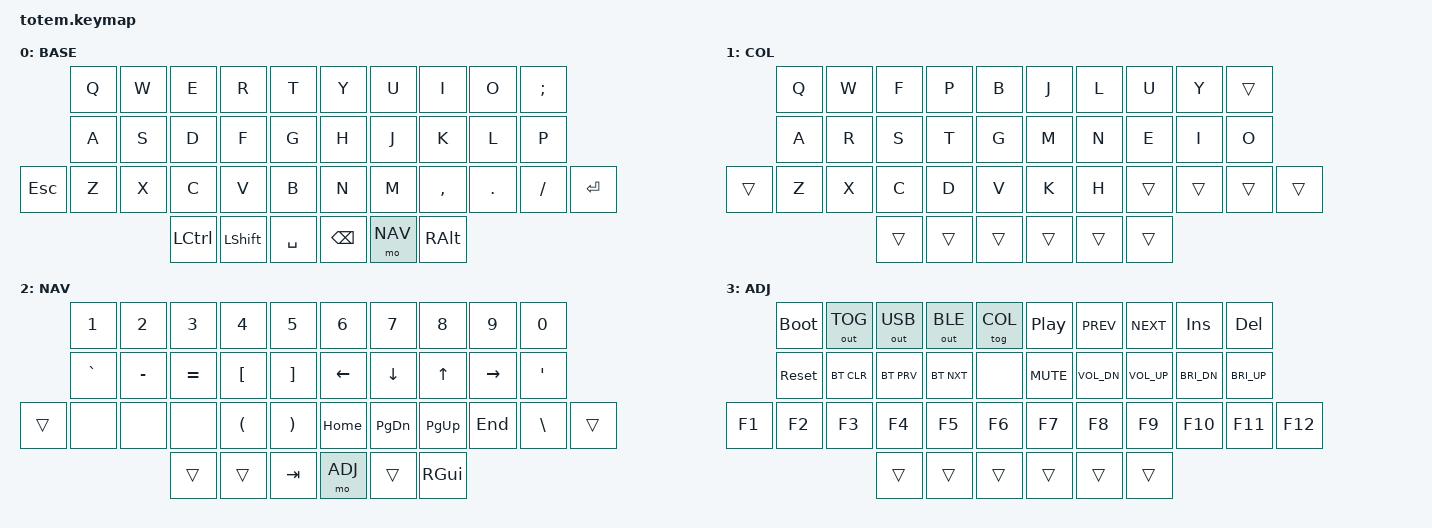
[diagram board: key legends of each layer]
//
//                                                        ▀▀▀▀▀     ▀▀▀▀▀          ▀▀█▀▀
//                                                        ▄▀▀▀▄  ▄  ▄▀▀▀▄  ▄  ▄▀▀▀▄  █  ▄▀▀▀▄
//                                                        █   █  █  █   █  █  █   █  █  █   █
//                                                         ▀▀▀   █   ▀▀▀   █   ▀▀▀   ▀   ▀▀▀
//                                                               █      ▄▄▄█▄▄▄    █   █
//                                                               ▀      █  █  █     █▄█
//                                                             ▀▀▀▀▀    █  █  █      ▀
//                                                                      ▀  ▀  ▀
//
// ▄▄▄▄▄▄▄▄▄▄▄▄▄▄▄▄▄▄▄▄▄▄▄▄▄▄▄▄▄▄▄▄▄▄▄▄▄▄▄▄▄▄▄▄▄▄▄▄▄▄▄▄▄▄▄▄▄▄▄▄▄▄▄▄▄▄▄▄▄▄▄▄▄▄▄▄▄▄▄▄▄▄▄▄▄▄▄▄▄▄▄▄▄▄▄▄▄▄▄▄▄▄▄▄▄▄▄▄▄▄▄▄▄▄▄▄▄▄▄▄▄▄▄▄▄▄▄▄▄▄▄▄▄▄▄▄▄▄▄▄▄▄▄▄▄▄▄▄▄


#include <behaviors.dtsi>
#include <dt-bindings/zmk/keys.h>
#include <dt-bindings/zmk/bt.h>
#include <dt-bindings/zmk/outputs.h>

#define BASE 0
#define COL  1
#define NAV  2
#define ADJ  3

/ {

    keymap {
        compatible = "zmk,keymap";
// ▄▄▄▄▄▄▄▄▄▄▄▄▄▄▄▄▄▄▄▄▄▄▄▄▄▄▄▄▄▄▄▄▄▄▄▄▄▄▄▄▄▄▄▄▄▄▄▄▄▄▄▄▄▄▄▄▄▄▄▄▄▄▄▄▄▄▄▄▄▄▄▄▄▄▄▄▄▄▄▄▄▄▄▄▄▄▄▄▄▄▄▄▄▄▄▄▄▄▄▄▄▄▄▄▄▄▄▄▄▄▄▄▄▄▄▄▄▄▄▄▄▄▄▄▄▄▄▄▄▄▄▄▄▄▄▄▄▄▄▄▄▄▄▄▄▄▄▄▄

        base_layer {
// ┏━━━━━━━━━━━━━━━━━━━━━━━━━━━━━━━━━━━━━━━┓
display-name= "BASE"                              ;
// ┗━━━━━━━━━━━━━━━━━━━━━━━━━━━━━━━━━━━━━━━┛
//             ┏━━━━━━━━━━━┳━━━━━━━━━━━┳━━━━━━━━━━━┳━━━━━━━━━━━┳━━━━━━━━━━━┓   ┏━━━━━━━━━━━┳━━━━━━━━━━━┳━━━━━━━━━━━┳━━━━━━━━━━━┳━━━━━━━━━━━┓
//             ┃     Q     ┃     W     ┃     E     ┃     R     ┃     T     ┃   ┃     Y     ┃     U     ┃     I     ┃     O     ┃    ;/:    ┃
//             ┣━━━━━━━━━━━╋━━━━━━━━━━━╋━━━━━━━━━━━╋━━━━━━━━━━━╋━━━━━━━━━━━┫   ┣━━━━━━━━━━━╋━━━━━━━━━━━╋━━━━━━━━━━━╋━━━━━━━━━━━╋━━━━━━━━━━━┫
//             ┃     A     ┃     S     ┃     D     ┃     F     ┃     G     ┃   ┃     H     ┃     J     ┃     K     ┃     L     ┃     P     ┃
// ┏━━━━━━━━━━━╋━━━━━━━━━━━╋━━━━━━━━━━━╋━━━━━━━━━━━╋━━━━━━━━━━━╋━━━━━━━━━━━┫   ┣━━━━━━━━━━━╋━━━━━━━━━━━╋━━━━━━━━━━━╋━━━━━━━━━━━╋━━━━━━━━━━━╋━━━━━━━━━━━┓
// ┃    ESC    ┃     Z     ┃     X     ┃     C     ┃     V     ┃     B     ┃   ┃     N     ┃     M     ┃    ,/<    ┃    ./>    ┃    / ?    ┃    RET    ┃
// ┗━━━━━━━━━━━┻━━━━━━━━━━━┻━━━━━━━━━━━╋━━━━━━━━━━━╋━━━━━━━━━━━╋━━━━━━━━━━━┫   ┣━━━━━━━━━━━╋━━━━━━━━━━━╋━━━━━━━━━━━╋━━━━━━━━━━━┻━━━━━━━━━━━┻━━━━━━━━━━━┛
//                                     ┃    CTRL   ┃   SHIFT   ┃    SPC    ┃   ┃    BSPC   ┃    NAV    ┃    ALT    ┃
//                                     ┗━━━━━━━━━━━┻━━━━━━━━━━━┻━━━━━━━━━━━┛   ┗━━━━━━━━━━━┻━━━━━━━━━━━┻━━━━━━━━━━━┛
 bindings = <
// ╷           ╷           ╷           ╷           ╷           ╷           ╷   ╷           ╷           ╷           ╷           ╷           ╷           ╷

                &kp Q       &kp W       &kp E       &kp R       &kp T           &kp Y       &kp U       &kp I       &kp O       &kp SEMI
                &kp A       &kp S       &kp D       &kp F       &kp G           &kp H       &kp J       &kp K       &kp L       &kp P
    &kp ESC     &kp Z       &kp X       &kp C       &kp V       &kp B           &kp N       &kp M       &kp COMMA   &kp DOT     &kp FSLH    &kp RET
                                        &kp LCTRL   &kp LSHFT   &kp SPACE       &kp BSPC    &mo NAV     &kp RALT
            >;
        };

// ▄▄▄▄▄▄▄▄▄▄▄▄▄▄▄▄▄▄▄▄▄▄▄▄▄▄▄▄▄▄▄▄▄▄▄▄▄▄▄▄▄▄▄▄▄▄▄▄▄▄▄▄▄▄▄▄▄▄▄▄▄▄▄▄▄▄▄▄▄▄▄▄▄▄▄▄▄▄▄▄▄▄▄▄▄▄▄▄▄▄▄▄▄▄▄▄▄▄▄▄▄▄▄▄▄▄▄▄▄▄▄▄▄▄▄▄▄▄▄▄▄▄▄▄▄▄▄▄▄▄▄▄▄▄▄▄▄▄▄▄▄▄▄▄▄▄▄▄▄

        colemak_dh_layer {
// ┏━━━━━━━━━━━━━━━━━━━━━━━━━━━━━━━━━━━━━━━┓
display-name= "COL"                              ;
// ┗━━━━━━━━━━━━━━━━━━━━━━━━━━━━━━━━━━━━━━━┛
//             ┏━━━━━━━━━━━┳━━━━━━━━━━━┳━━━━━━━━━━━┳━━━━━━━━━━━┳━━━━━━━━━━━┓   ┏━━━━━━━━━━━┳━━━━━━━━━━━┳━━━━━━━━━━━┳━━━━━━━━━━━┳━━━━━━━━━━━┓
//             ┃     Q     ┃     W     ┃     F     ┃     P     ┃     B     ┃   ┃     J     ┃     L     ┃     U     ┃     Y     ┃           ┃
//             ┣━━━━━━━━━━━╋━━━━━━━━━━━╋━━━━━━━━━━━╋━━━━━━━━━━━╋━━━━━━━━━━━┫   ┣━━━━━━━━━━━╋━━━━━━━━━━━╋━━━━━━━━━━━╋━━━━━━━━━━━╋━━━━━━━━━━━┫
//             ┃     A     ┃     R     ┃     S     ┃     T     ┃     G     ┃   ┃     M     ┃     N     ┃     E     ┃     I     ┃     O     ┃
// ┏━━━━━━━━━━━╋━━━━━━━━━━━╋━━━━━━━━━━━╋━━━━━━━━━━━╋━━━━━━━━━━━╋━━━━━━━━━━━┫   ┣━━━━━━━━━━━╋━━━━━━━━━━━╋━━━━━━━━━━━╋━━━━━━━━━━━╋━━━━━━━━━━━╋━━━━━━━━━━━┓
// ┃           ┃     Z     ┃     X     ┃     C     ┃     D     ┃     V     ┃   ┃     K     ┃     H     ┃           ┃           ┃           ┃           ┃
// ┗━━━━━━━━━━━┻━━━━━━━━━━━┻━━━━━━━━━━━╋━━━━━━━━━━━╋━━━━━━━━━━━╋━━━━━━━━━━━┫   ┣━━━━━━━━━━━╋━━━━━━━━━━━╋━━━━━━━━━━━╋━━━━━━━━━━━┻━━━━━━━━━━━┻━━━━━━━━━━━┛
//                                     ┃           ┃           ┃           ┃   ┃           ┃           ┃           ┃
//                                     ┗━━━━━━━━━━━┻━━━━━━━━━━━┻━━━━━━━━━━━┛   ┗━━━━━━━━━━━┻━━━━━━━━━━━┻━━━━━━━━━━━┛
 bindings = <
// ╷           ╷           ╷           ╷           ╷           ╷           ╷   ╷           ╷           ╷           ╷           ╷           ╷           ╷

                &kp Q       &kp W       &kp F       &kp P       &kp B           &kp J       &kp L       &kp U       &kp Y       &trans
                &kp A       &kp R       &kp S       &kp T       &kp G           &kp M       &kp N       &kp E       &kp I       &kp O
    &trans      &kp Z       &kp X       &kp C       &kp D       &kp V           &kp K       &kp H       &trans      &trans      &trans      &trans
                                        &trans      &trans      &trans          &trans      &trans      &trans
            >;
        };

// ▄▄▄▄▄▄▄▄▄▄▄▄▄▄▄▄▄▄▄▄▄▄▄▄▄▄▄▄▄▄▄▄▄▄▄▄▄▄▄▄▄▄▄▄▄▄▄▄▄▄▄▄▄▄▄▄▄▄▄▄▄▄▄▄▄▄▄▄▄▄▄▄▄▄▄▄▄▄▄▄▄▄▄▄▄▄▄▄▄▄▄▄▄▄▄▄▄▄▄▄▄▄▄▄▄▄▄▄▄▄▄▄▄▄▄▄▄▄▄▄▄▄▄▄▄▄▄▄▄▄▄▄▄▄▄▄▄▄▄▄▄▄▄▄▄▄▄▄▄

        nav_layer {
// ┏━━━━━━━━━━━━━━━━━━━━━━━━━━━━━━━━━━━━━━━┓
display-name= "NAV"                              ;
// ┗━━━━━━━━━━━━━━━━━━━━━━━━━━━━━━━━━━━━━━━┛
//             ┏━━━━━━━━━━━┳━━━━━━━━━━━┳━━━━━━━━━━━┳━━━━━━━━━━━┳━━━━━━━━━━━┓   ┏━━━━━━━━━━━┳━━━━━━━━━━━┳━━━━━━━━━━━┳━━━━━━━━━━━┳━━━━━━━━━━━┓
//             ┃    1/!    ┃    2/@    ┃    3/#    ┃    4/$    ┃    5/%    ┃   ┃    6/^    ┃    7/&    ┃    8/*    ┃    9/(    ┃    0/)    ┃
//             ┣━━━━━━━━━━━╋━━━━━━━━━━━╋━━━━━━━━━━━╋━━━━━━━━━━━╋━━━━━━━━━━━┫   ┣━━━━━━━━━━━╋━━━━━━━━━━━╋━━━━━━━━━━━╋━━━━━━━━━━━╋━━━━━━━━━━━┫
//             ┃    `/~    ┃    -/_    ┃    =/+    ┃    [/{    ┃    ]/}    ┃   ┃   LEFT    ┃   DOWN    ┃    UP     ┃   RIGHT   ┃    '/"    ┃
// ┏━━━━━━━━━━━╋━━━━━━━━━━━╋━━━━━━━━━━━╋━━━━━━━━━━━╋━━━━━━━━━━━╋━━━━━━━━━━━┫   ┣━━━━━━━━━━━╋━━━━━━━━━━━╋━━━━━━━━━━━╋━━━━━━━━━━━╋━━━━━━━━━━━╋━━━━━━━━━━━┓
// ┃           ┃           ┃           ┃           ┃     (     ┃     )     ┃   ┃   HOME    ┃   PG_DN   ┃   PG_UP   ┃    END    ┃    \/|    ┃           ┃
// ┗━━━━━━━━━━━┻━━━━━━━━━━━┻━━━━━━━━━━━╋━━━━━━━━━━━╋━━━━━━━━━━━╋━━━━━━━━━━━┫   ┣━━━━━━━━━━━╋━━━━━━━━━━━╋━━━━━━━━━━━╋━━━━━━━━━━━┻━━━━━━━━━━━┻━━━━━━━━━━━┛
//                                     ┃           ┃           ┃    ADJ    ┃   ┃           ┃           ┃    GUI    ┃
//                                     ┗━━━━━━━━━━━┻━━━━━━━━━━━┻━━━━━━━━━━━┛   ┗━━━━━━━━━━━┻━━━━━━━━━━━┻━━━━━━━━━━━┛
 bindings = <
// ╷           ╷           ╷           ╷           ╷           ╷           ╷   ╷           ╷           ╷           ╷           ╷           ╷           ╷

                &kp N1      &kp N2      &kp N3      &kp N4      &kp N5          &kp N6      &kp N7      &kp N8      &kp N9      &kp N0
                &kp GRAVE   &kp MINUS   &kp EQUAL   &kp LBKT    &kp RBKT        &kp LEFT    &kp DOWN    &kp UP      &kp RIGHT   &kp SQT
    &trans      &none       &none       &none       &kp LPAR    &kp RPAR        &kp HOME    &kp PG_DN   &kp PG_UP   &kp END     &kp BSLH    &trans
                                        &trans      &trans      &kp TAB         &mo ADJ     &trans      &kp RGUI
            >;
        };

// ▄▄▄▄▄▄▄▄▄▄▄▄▄▄▄▄▄▄▄▄▄▄▄▄▄▄▄▄▄▄▄▄▄▄▄▄▄▄▄▄▄▄▄▄▄▄▄▄▄▄▄▄▄▄▄▄▄▄▄▄▄▄▄▄▄▄▄▄▄▄▄▄▄▄▄▄▄▄▄▄▄▄▄▄▄▄▄▄▄▄▄▄▄▄▄▄▄▄▄▄▄▄▄▄▄▄▄▄▄▄▄▄▄▄▄▄▄▄▄▄▄▄▄▄▄▄▄▄▄▄▄▄▄▄▄▄▄▄▄▄▄▄▄▄▄▄▄▄▄

        adjust_layer {
// ┏━━━━━━━━━━━━━━━━━━━━━━━━━━━━━━━━━━━━━━━┓
display-name= "ADJ"                               ;
// ┗━━━━━━━━━━━━━━━━━━━━━━━━━━━━━━━━━━━━━━━┛
//             ┏━━━━━━━━━━━┳━━━━━━━━━━━┳━━━━━━━━━━━┳━━━━━━━━━━━┳━━━━━━━━━━━┓   ┏━━━━━━━━━━━┳━━━━━━━━━━━┳━━━━━━━━━━━┳━━━━━━━━━━━┳━━━━━━━━━━━┓
//             ┃  BOOTLOAD ┃  OUT TOG  ┃  OUT USB  ┃  OUT BLE  ┃  COLEMAK  ┃   ┃    P/P    ┃   PREV    ┃   NEXT    ┃  INSERT   ┃  DELETE   ┃
//             ┣━━━━━━━━━━━╋━━━━━━━━━━━╋━━━━━━━━━━━╋━━━━━━━━━━━╋━━━━━━━━━━━┫   ┣━━━━━━━━━━━╋━━━━━━━━━━━╋━━━━━━━━━━━╋━━━━━━━━━━━╋━━━━━━━━━━━┫
//             ┃   RESET   ┃  BT CLR   ┃  BT PREV  ┃  BT NEXT  ┃           ┃   ┃   MUTE    ┃   VOL -   ┃   VOL +   ┃    BRI -  ┃   BRI +   ┃
// ┏━━━━━━━━━━━╋━━━━━━━━━━━╋━━━━━━━━━━━╋━━━━━━━━━━━╋━━━━━━━━━━━╋━━━━━━━━━━━┫   ┣━━━━━━━━━━━╋━━━━━━━━━━━╋━━━━━━━━━━━╋━━━━━━━━━━━╋━━━━━━━━━━━╋━━━━━━━━━━━┓
// ┃    F1     ┃    F2     ┃     F3    ┃    F4     ┃    F5     ┃    F6     ┃   ┃    F7     ┃    F8     ┃    F9     ┃    F10    ┃    F11    ┃    F12    ┃
// ┗━━━━━━━━━━━┻━━━━━━━━━━━┻━━━━━━━━━━━╋━━━━━━━━━━━╋━━━━━━━━━━━╋━━━━━━━━━━━┫   ┣━━━━━━━━━━━╋━━━━━━━━━━━╋━━━━━━━━━━━╋━━━━━━━━━━━┻━━━━━━━━━━━┻━━━━━━━━━━━┛
//                                     ┃           ┃           ┃           ┃   ┃           ┃           ┃           ┃
//                                     ┗━━━━━━━━━━━┻━━━━━━━━━━━┻━━━━━━━━━━━┛   ┗━━━━━━━━━━━┻━━━━━━━━━━━┻━━━━━━━━━━━┛
 bindings = <
// ╷           ╷           ╷           ╷           ╷           ╷           ╷   ╷           ╷           ╷           ╷           ╷           ╷           ╷

                &bootloader &out OUT_TOG &out OUT_USB &out OUT_BLE &tog COL     &kp C_PP    &kp C_PREV   &kp C_NEXT &kp INS     &kp DEL
                &sys_reset  &bt BT_CLR  &bt BT_PRV  &bt BT_NXT  &none           &kp C_MUTE  &kp C_VOL_DN &kp C_VOL_UP &kp C_BRI_DN &kp C_BRI_UP
    &kp F1      &kp F2      &kp F3      &kp F4      &kp F5      &kp F6          &kp F7      &kp F8      &kp F9      &kp F10     &kp F11     &kp F12
                                        &trans      &trans      &trans          &trans      &trans      &trans
            >;
        };

// ▄▄▄▄▄▄▄▄▄▄▄▄▄▄▄▄▄▄▄▄▄▄▄▄▄▄▄▄▄▄▄▄▄▄▄▄▄▄▄▄▄▄▄▄▄▄▄▄▄▄▄▄▄▄▄▄▄▄▄▄▄▄▄▄▄▄▄▄▄▄▄▄▄▄▄▄▄▄▄▄▄▄▄▄▄▄▄▄▄▄▄▄▄▄▄▄▄▄▄▄▄▄▄▄▄▄▄▄▄▄▄▄▄▄▄▄▄▄▄▄▄▄▄▄▄▄▄▄▄▄▄▄▄▄▄▄▄▄▄▄▄▄▄▄▄▄▄▄▄

    };
};
